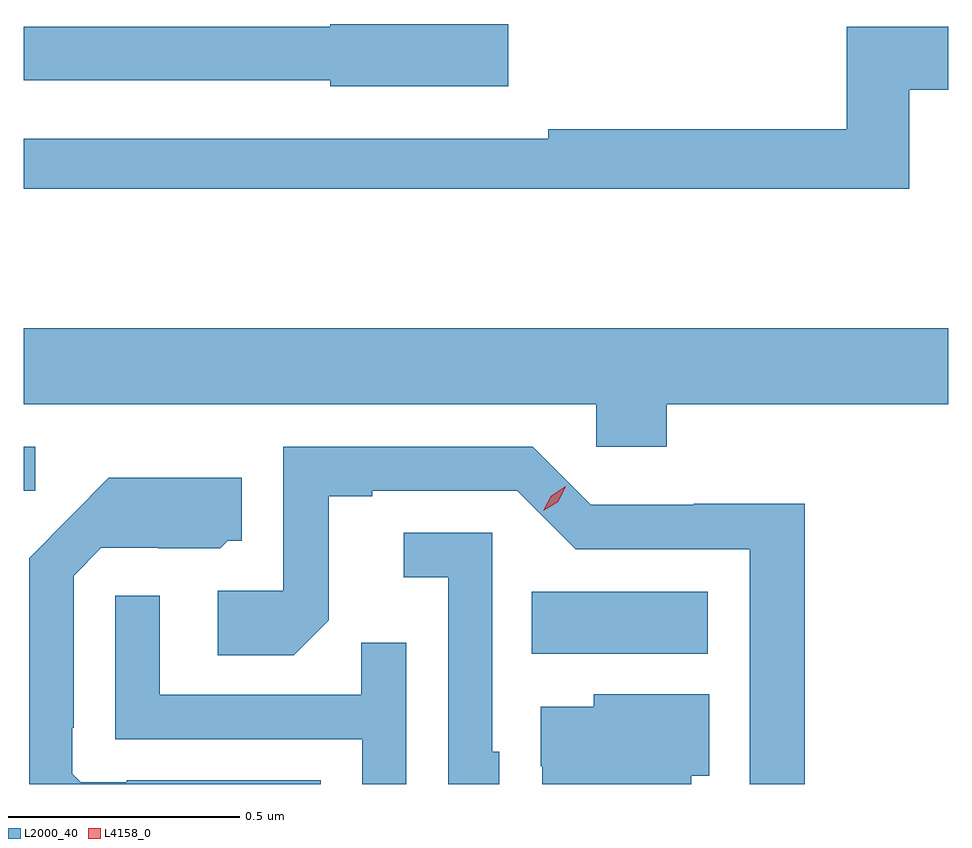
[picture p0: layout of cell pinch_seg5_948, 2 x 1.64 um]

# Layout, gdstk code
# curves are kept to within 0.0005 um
import gdstk
lib = gdstk.Library(unit=1e-6, precision=1e-09)
def R(c, l, rs):  # rectangles x0, y0, x1, y1
    for r in rs: c.add(gdstk.rectangle(r[:2], r[2:], *l))
def P(c, l, *ps):  # polygons
    for p in ps: c.add(gdstk.Polygon(p, *l))
L2000_40 = (2000, 40)
L4158_0 = (4158, 0)

pinch_seg5_948 = lib.new_cell('pinch_seg5_948')
R(pinch_seg5_948, L2000_40, [(682.6,901.508,682.981,901.642), (681.501,901.86,681.526,901.956)])
P(pinch_seg5_948, L2000_40, [(682.549,902.87),(682.164,902.87),(682.164,902.864),(681.501,902.864),(681.501,902.748),(682.164,902.748),(682.164,902.735),(682.549,902.735)],
  [(683.417,902.728),(683.501,902.728),(683.501,902.864),(683.281,902.864),(683.281,902.642),(682.636,902.642),(682.636,902.622),(681.501,902.622),(681.501,902.514),(683.417,902.514)],
  [(682.892,902.048),(683.501,902.048),(683.501,902.212),(681.501,902.212),(681.501,902.048),(682.74,902.048),(682.74,901.955),(682.892,901.955)],
  [(683.191,901.832),(682.95,901.832),(682.95,901.83),(682.728,901.83),(682.602,901.956),(682.062,901.956),(682.062,901.644),(681.921,901.644),(681.921,901.504),(682.085,901.504),(682.161,901.58),(682.161,901.848),(682.255,901.848),(682.255,901.86),(682.569,901.86),(682.695,901.734),(683.072,901.734),(683.072,901.226),(683.191,901.226)],
  [(682.144,901.234),(681.724,901.234),(681.724,901.23),(681.624,901.23),(681.606,901.248),(681.606,901.348),(681.609,901.348),(681.609,901.677),(681.669,901.737),(681.792,901.737),(681.792,901.736),(681.926,901.736),(681.942,901.752),(681.973,901.752),(681.973,901.888),(681.685,901.888),(681.513,901.714),(681.513,901.226),(682.144,901.226)],
  [(682.53,901.296),(682.515,901.296),(682.515,901.77),(682.323,901.77),(682.323,901.673),(682.419,901.673),(682.419,901.226),(682.53,901.226)],
  [(682.329,901.532),(682.231,901.532),(682.231,901.419),(681.795,901.419),(681.795,901.633),(681.699,901.633),(681.699,901.323),(682.233,901.323),(682.233,901.226),(682.329,901.226)],
  [(682.945,901.244),(682.984,901.244),(682.984,901.42),(682.734,901.42),(682.734,901.393),(682.619,901.393),(682.619,901.264),(682.623,901.264),(682.623,901.226),(682.945,901.226)])
P(pinch_seg5_948, L4158_0, [(682.625,901.817),(682.625,901.817),(682.642,901.85),(682.673,901.87),(682.674,901.87),(682.674,901.87),(682.657,901.837),(682.625,901.817)])

lib.write_gds('pinch_seg5_948.gds')
